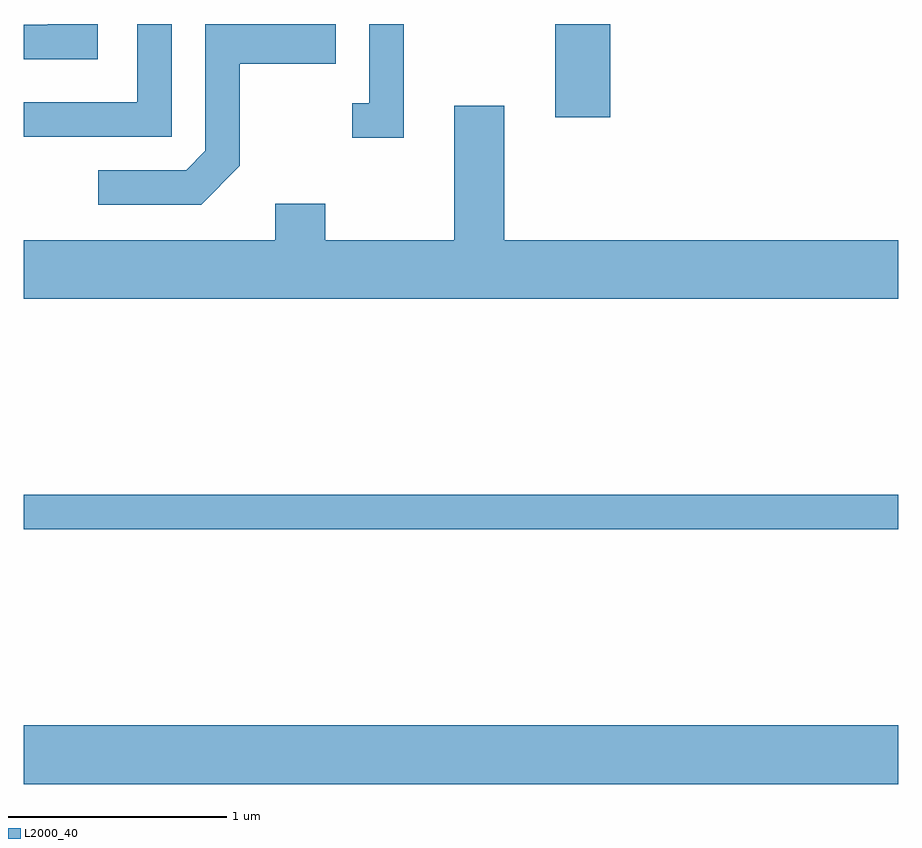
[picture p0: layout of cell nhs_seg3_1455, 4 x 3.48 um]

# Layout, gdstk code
import gdstk
lib = gdstk.Library(unit=1e-6, precision=1e-09)
def R(c, l, rs):  # rectangles x0, y0, x1, y1
    for r in rs: c.add(gdstk.rectangle(r[:2], r[2:], *l))
def P(c, l, *ps):  # polygons
    for p in ps: c.add(gdstk.Polygon(p, *l))
L2000_40 = (2000, 40)

nhs_seg3_1455 = lib.new_cell('nhs_seg3_1455')
R(nhs_seg3_1455, L2000_40, [(227.611,1170.416,231.611,1170.684), (227.611,1171.581,231.611,1171.739), (230.041,1173.466,230.294,1173.892)])
P(nhs_seg3_1455, L2000_40, [(227.949,1173.892),(227.721,1173.892),(227.721,1173.889),(227.611,1173.889),(227.611,1173.731),(227.949,1173.731)],
  [(228.289,1173.892),(228.131,1173.892),(228.131,1173.534),(227.611,1173.534),(227.611,1173.376),(228.289,1173.376)],
  [(228.599,1173.244),(228.599,1173.711),(229.039,1173.711),(229.039,1173.892),(228.441,1173.892),(228.441,1173.312),(228.354,1173.224),(227.953,1173.224),(227.953,1173.066),(228.422,1173.066)],
  [(229.349,1173.892),(229.191,1173.892),(229.191,1173.529),(229.113,1173.529),(229.113,1173.371),(229.349,1173.371)],
  [(231.611,1172.904),(229.809,1172.904),(229.809,1173.519),(229.581,1173.519),(229.581,1172.904),(228.989,1172.904),(228.989,1173.069),(228.761,1173.069),(228.761,1172.904),(227.611,1172.904),(227.611,1172.636),(231.611,1172.636)])

lib.write_gds('nhs_seg3_1455.gds')
